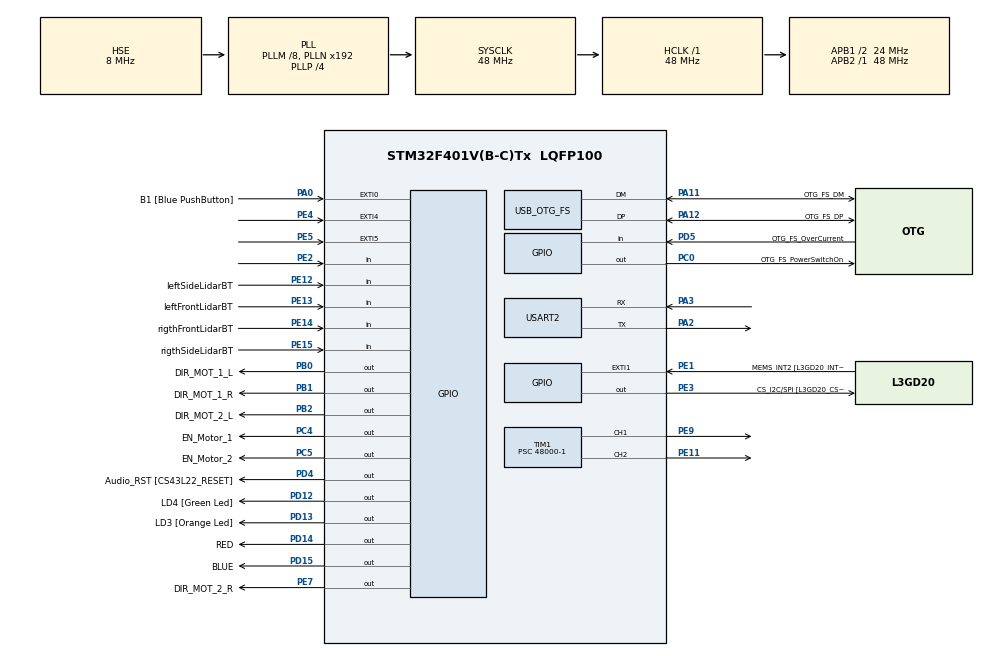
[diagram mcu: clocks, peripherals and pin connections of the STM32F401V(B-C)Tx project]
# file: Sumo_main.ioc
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Mcu.Family=STM32F4
Mcu.Name=STM32F401V(B-C)Tx
Mcu.Package=LQFP100
NVIC.OTG_FS_IRQn=true\:0\:0\:false\:false\:true\:false\:true\:true
NVIC.PriorityGroup=NVIC_PRIORITYGROUP_0
NVIC.TIM2_IRQn=true\:0\:0\:false\:false\:true\:true\:true\:true
NVIC.USART2_IRQn=true\:0\:0\:false\:false\:true\:true\:true\:true
PA0-WKUP.GPIO_Label=B1 [Blue PushButton]
PA0-WKUP.GPIO_ModeDefaultEXTI=GPIO_MODE_EVT_RISING
PA0-WKUP.Signal=GPXTI0
PA10.GPIO_Label=OTG_FS_ID
PA10.Signal=USB_OTG_FS_ID
PA11.GPIO_Label=OTG_FS_DM
PA11.Mode=Device_Only
PA11.Signal=USB_OTG_FS_DM
PA12.GPIO_Label=OTG_FS_DP
PA12.Mode=Device_Only
PA12.Signal=USB_OTG_FS_DP
PA13.GPIO_Label=SWDIO
PA13.Signal=SYS_JTMS-SWDIO
PA14.GPIO_Label=SWCLK
PA14.Signal=SYS_JTCK-SWCLK
PA2.Mode=Asynchronous
PA2.Signal=USART2_TX
PA3.Mode=Asynchronous
PA3.Signal=USART2_RX
PA4.GPIO_Label=I2S3_WS [CS43L22_LRCK]
PA4.GPIO_Mode=GPIO_MODE_AF_PP
PA4.GPIO_PuPd=GPIO_NOPULL
PA4.GPIO_Speed=GPIO_SPEED_FREQ_LOW
PA4.Signal=I2S3_WS
PA5.GPIO_Label=SPI1_SCK [L3GD20_SC/SPC]
PA5.Signal=SPI1_SCK
PA6.GPIO_Label=SPI1_MISO [L3GD20_AS0/SDO]
PA6.Signal=SPI1_MISO
PA7.GPIO_Label=SPI1_MISO [L3GD20_SDA/SDI/SDO]
PA7.Signal=SPI1_MOSI
PA9.GPIO_Label=VBUS_FS
PA9.Signal=USB_OTG_FS_VBUS
PB0.GPIO_Label=DIR_MOT_1_L
PB0.Signal=GPIO_Output
PB1.GPIO_Label=DIR_MOT_1_R
PB1.Signal=GPIO_Output
PB10.GPIO_Label=CLK_IN [MP45DT02_CLK]
PB10.Signal=I2S2_CK
PB12.Signal=I2S2_WS
PB2.GPIO_Label=DIR_MOT_2_L
PB2.Signal=GPIO_Output
PB3.GPIO_Label=SWO
PB3.Signal=SYS_JTDO-SWO
PB6.Signal=I2C1_SCL
PB9.GPIO_Label=Audio_SDA [CS43L22_SDA]
PB9.GPIO_Mode=GPIO_MODE_AF_OD
PB9.GPIO_PuPd=GPIO_NOPULL
PB9.GPIO_Speed=GPIO_SPEED_FREQ_LOW
PB9.Signal=I2C1_SDA
PC0.GPIO_Label=OTG_FS_PowerSwitchOn
PC0.PinState=GPIO_PIN_SET
PC0.Signal=GPIO_Output
PC10.GPIO_Label=I2S3_SCK [CS43L22_SCLK]
PC10.GPIO_Mode=GPIO_MODE_AF_PP
PC10.GPIO_PuPd=GPIO_NOPULL
PC10.GPIO_Speed=GPIO_SPEED_FREQ_LOW
PC10.Signal=I2S3_CK
PC12.GPIO_Label=I2S3_SD [CS43L22_SDIN]
PC12.GPIO_Mode=GPIO_MODE_AF_PP
PC12.GPIO_PuPd=GPIO_NOPULL
PC12.GPIO_Speed=GPIO_SPEED_FREQ_LOW
PC12.Signal=I2S3_SD
PC14-OSC32_IN.GPIO_Label=PC14-OSC32_IN
PC14-OSC32_IN.Signal=RCC_OSC32_IN
PC15-OSC32_OUT.GPIO_Label=PC15-OSC32_OUT
PC15-OSC32_OUT.Signal=RCC_OSC32_OUT
PC3.GPIO_Label=PDM_OUT [MP45DT02_DOUT]
PC3.Signal=I2S2_SD
PC4.GPIO_Label=EN_Motor_1
PC4.Signal=GPIO_Output
PC5.GPIO_Label=EN_Motor_2
PC5.Signal=GPIO_Output
PC7.GPIO_Label=I2S3_MCK [CS43L22_MCLK]
PC7.GPIO_Mode=GPIO_MODE_AF_PP
PC7.GPIO_PuPd=GPIO_NOPULL
PC7.GPIO_Speed=GPIO_SPEED_FREQ_LOW
PC7.Signal=I2S3_MCK
PD12.GPIO_Label=LD4 [Green Led]
PD12.GPIO_PuPd=GPIO_NOPULL
PD12.GPIO_Speed=GPIO_SPEED_FREQ_LOW
PD12.Signal=GPIO_Output
PD13.GPIO_Label=LD3 [Orange Led]
PD13.GPIO_PuPd=GPIO_NOPULL
PD13.GPIO_Speed=GPIO_SPEED_FREQ_LOW
PD13.Signal=GPIO_Output
PD14.GPIO_Label=RED
PD14.GPIO_PuPd=GPIO_NOPULL
PD14.GPIO_Speed=GPIO_SPEED_FREQ_LOW
PD14.Signal=GPIO_Output
PD15.GPIO_Label=BLUE
PD15.GPIO_PuPd=GPIO_NOPULL
PD15.GPIO_Speed=GPIO_SPEED_FREQ_LOW
PD15.Signal=GPIO_Output
PD4.GPIO_Label=Audio_RST [CS43L22_RESET]
PD4.Signal=GPIO_Output
PD5.GPIO_Label=OTG_FS_OverCurrent
PD5.Signal=GPIO_Input
PE1.GPIO_Label=MEMS_INT2 [L3GD20_INT2]
PE1.GPIO_ModeDefaultEXTI=GPIO_MODE_EVT_RISING
PE1.Signal=GPXTI1
PE11.Signal=S_TIM1_CH2
PE12.GPIO_Label=leftSideLidarBT
PE12.Signal=GPIO_Input
PE13.GPIO_Label=leftFrontLidarBT
PE13.Signal=GPIO_Input
PE14.GPIO_Label=rigthFrontLidarBT
PE14.Signal=GPIO_Input
PE15.GPIO_Label=rigthSideLidarBT
PE15.Signal=GPIO_Input
PE2.Signal=GPIO_Input
PE3.GPIO_Label=CS_I2C/SPI [L3GD20_CS_I2C/SPI]
PE3.Signal=GPIO_Output
PE4.GPIO_ModeDefaultEXTI=GPIO_MODE_EVT_RISING
PE4.Signal=GPXTI4
PE5.GPIO_ModeDefaultEXTI=GPIO_MODE_EVT_RISING
PE5.Signal=GPXTI5
PE7.GPIO_Label=DIR_MOT_2_R
PE7.Signal=GPIO_Output
PE9.Signal=S_TIM1_CH1
PH0\ -\ OSC_IN.GPIO_Label=PH0-OSC_IN
PH0\ -\ OSC_IN.Mode=HSE-External-Oscillator
PH0\ -\ OSC_IN.Signal=RCC_OSC_IN
PH1\ -\ OSC_OUT.GPIO_Label=PH1-OSC_OUT
PH1\ -\ OSC_OUT.Mode=HSE-External-Oscillator
PH1\ -\ OSC_OUT.Signal=RCC_OSC_OUT
ProjectManager.HeapSize=0x200
ProjectManager.StackSize=0x400
ProjectManager.TargetToolchain=STM32CubeIDE
RCC.48MHZClocksFreq_Value=48000000
RCC.AHBFreq_Value=48000000
RCC.APB1CLKDivider=RCC_HCLK_DIV2
RCC.APB1Freq_Value=24000000
RCC.APB1TimFreq_Value=48000000
RCC.APB2Freq_Value=48000000
RCC.APB2TimFreq_Value=48000000
RCC.CortexFreq_Value=48000000
RCC.HCLKFreq_Value=48000000
RCC.HSE_VALUE=8000000
RCC.HSI_VALUE=16000000
RCC.LSE_VALUE=32768
RCC.PLLM=8
RCC.PLLP=RCC_PLLP_DIV4
RCC.SYSCLKFreq_VALUE=48000000
RCC.SYSCLKSource=RCC_SYSCLKSOURCE_PLLCLK
RCC.VCOOutputFreq_Value=192000000
SH.S_TIM1_CH1.0=TIM1_CH1,PWM Generation1 CH1
SH.S_TIM1_CH2.0=TIM1_CH2,PWM Generation2 CH2
TIM1.Channel-PWM\ Generation1\ CH1=TIM_CHANNEL_1
TIM1.Channel-PWM\ Generation2\ CH2=TIM_CHANNEL_2
TIM1.Period=100-1
TIM1.Prescaler=48000-1
TIM1.Pulse-PWM\ Generation2\ CH2=0
TIM2.Period=1000000-1
TIM2.Prescaler=48-1
USART2.VirtualMode=VM_ASYNC
USB_DEVICE.CLASS_NAME_FS=CDC
USB_DEVICE.VirtualMode=Cdc
USB_DEVICE.VirtualModeFS=Cdc_FS
USB_OTG_FS.VirtualMode=Device_Only
VP_TIM1_VS_ClockSourceINT.Mode=Internal
VP_TIM2_VS_ClockSourceINT.Mode=Internal
VP_USB_DEVICE_VS_USB_DEVICE_CDC_FS.Mode=CDC_FS
board=STM32F401C-DISCO

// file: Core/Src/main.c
/* USER CODE BEGIN Header */
/**
  ******************************************************************************
  * @file           : main.c
  * @brief          : Main program body
  ******************************************************************************
  * @attention
  *
  * Copyright (c) 2025 STMicroelectronics.
  * All rights reserved.
  *
  * This software is licensed under terms that can be found in the LICENSE file
  * in the root directory of this software component.
  * If no LICENSE file comes with this software, it is provided AS-IS.
  *
  ******************************************************************************
  */
/* USER CODE END Header */
#include "main.h"
#include "usb_device.h"

/* USER CODE BEGIN Includes */
#include <stdbool.h>
#include <stdio.h>
#include <string.h>
#include "usbd_cdc_if.h"

/* USER CODE END Includes */

/* USER CODE BEGIN PD */
#define RIGTH_MOTOR 1
#define LEFT_MOTOR 2

#define FORWARD true
#define BACKWARDS false
/* USER CODE END PD */

TIM_HandleTypeDef htim1;
TIM_HandleTypeDef htim2;

UART_HandleTypeDef huart2;

void SystemClock_Config(void);
static void MX_GPIO_Init(void);
static void MX_TIM1_Init(void);
static void MX_USART2_UART_Init(void);
static void MX_TIM2_Init(void);

/* USER CODE BEGIN 0 */
bool leftMotorForward = true;
bool rigthMotorForward = true;

//the status of lidar detection if true than lidar is detecting some object
bool leftSideLidar = false;
bool leftFrontLidar = false;
bool rigthFrontLidar = false;
bool rigthSideLidar = false;

//to wiadomo chyba co robi
void enable_motor(int motor_id)
{
	switch(motor_id)
	{
	case 1:
		HAL_GPIO_WritePin(EN_Motor_1_GPIO_Port, EN_Motor_1_Pin,SET);
		break;
	case 2:
		HAL_GPIO_WritePin(EN_Motor_2_GPIO_Port, EN_Motor_2_Pin,SET);
		break;
	}

}

void sumoUpdateDirection()
{
	if(LEFT_MOTOR == 1 && RIGTH_MOTOR == 2)
	{
		if(leftMotorForward)
		{
			HAL_GPIO_WritePin(DIR_MOT_1_L_GPIO_Port, DIR_MOT_1_L_Pin,SET);
			HAL_GPIO_WritePin(DIR_MOT_1_R_GPIO_Port, DIR_MOT_1_R_Pin,RESET);
		}
		else{
			HAL_GPIO_WritePin(DIR_MOT_1_L_GPIO_Port, DIR_MOT_1_L_Pin,RESET);
			HAL_GPIO_WritePin(DIR_MOT_1_R_GPIO_Port, DIR_MOT_1_R_Pin,SET);
		}
		if(rigthMotorForward)
		{
			HAL_GPIO_WritePin(DIR_MOT_2_L_GPIO_Port, DIR_MOT_2_L_Pin,SET);
			HAL_GPIO_WritePin(DIR_MOT_2_R_GPIO_Port, DIR_MOT_2_R_Pin,RESET);
		}
		else{
			HAL_GPIO_WritePin(DIR_MOT_2_L_GPIO_Port, DIR_MOT_2_L_Pin,RESET);
			HAL_GPIO_WritePin(DIR_MOT_2_R_GPIO_Port, DIR_MOT_2_R_Pin,SET);
		}
	}

	else if(LEFT_MOTOR == 2 && RIGTH_MOTOR == 1)
	{
		if(leftMotorForward)
		{
			HAL_GPIO_WritePin(DIR_MOT_2_L_GPIO_Port, DIR_MOT_2_L_Pin,SET);
			HAL_GPIO_WritePin(DIR_MOT_2_R_GPIO_Port, DIR_MOT_2_R_Pin,RESET);
		}
		else{
			HAL_GPIO_WritePin(DIR_MOT_2_L_GPIO_Port, DIR_MOT_2_L_Pin,RESET);
			HAL_GPIO_WritePin(DIR_MOT_2_R_GPIO_Port, DIR_MOT_2_R_Pin,SET);
		}
		if(rigthMotorForward)
		{
			HAL_GPIO_WritePin(DIR_MOT_1_L_GPIO_Port, DIR_MOT_1_L_Pin,SET);
			HAL_GPIO_WritePin(DIR_MOT_1_R_GPIO_Port, DIR_MOT_1_R_Pin,RESET);
		}
		else{
			HAL_GPIO_WritePin(DIR_MOT_1_L_GPIO_Port, DIR_MOT_1_L_Pin,RESET);
			HAL_GPIO_WritePin(DIR_MOT_1_R_GPIO_Port, DIR_MOT_1_R_Pin,SET);
		}
	}

}

void change_direction(int motor_id)
{
	if(LEFT_MOTOR == 1 && RIGTH_MOTOR == 2)
		switch (motor_id) {
			case 1:
				leftMotorForward = !leftMotorForward;
				break;
			case 2:
				rigthMotorForward = !rigthMotorForward;
			default:
				break;
		}
	else if(LEFT_MOTOR == 2 && RIGTH_MOTOR == 1){
		switch (motor_id) {
			case 1:
				rigthMotorForward = !rigthMotorForward;
				break;
			case 2:
				leftMotorForward = !leftMotorForward;
			default:
				break;
		}
	}
	sumoUpdateDirection();
}

void motorDirection(bool direction, int motor_id)
{
	switch (motor_id) {
		case 1:
			if(LEFT_MOTOR == 1 && RIGTH_MOTOR == 2){
				leftMotorForward = direction;
			}
			else if(LEFT_MOTOR == 2 && RIGTH_MOTOR == 1){
				rigthMotorForward = direction;
			}
			break;
		case 2:
			if(LEFT_MOTOR == 1 && RIGTH_MOTOR == 2){
				rigthMotorForward = direction;
			}
			else if(LEFT_MOTOR == 2 && RIGTH_MOTOR == 1){
				leftMotorForward = direction;
			}
			break;
		default:
			break;
	}
	sumoUpdateDirection();
}

//funkcja ustala wartosc predkosci
void move_at_speed(int speed,int motor_id)
{
	if(speed > 100)speed = 100;
	switch(motor_id)
		{
		case 1:
			__HAL_TIM_SET_COMPARE(&htim1, TIM_CHANNEL_1, speed);
			break;
		case 2:
			__HAL_TIM_SET_COMPARE(&htim1, TIM_CHANNEL_2, speed);
			break;
		}
}

void moveForward()
{
	//
}

//pure function for tests bcs I dont have access to lidar right now
void readLidarButtons()
{
	if(HAL_GPIO_ReadPin(leftSideLidarBT_GPIO_Port, leftSideLidarBT_Pin) == 1)leftSideLidar = true;
	else leftSideLidar = false;
	if(HAL_GPIO_ReadPin(leftFrontLidarBT_GPIO_Port, leftFrontLidarBT_Pin) == 1)leftFrontLidar = true;
	else leftFrontLidar = false;
	if(HAL_GPIO_ReadPin(rigthFrontLidarBT_GPIO_Port, rigthFrontLidarBT_Pin) == 1)rigthFrontLidar = true;
	else rigthFrontLidar = false;
	if(HAL_GPIO_ReadPin(rigthSideLidarBT_GPIO_Port, rigthSideLidarBT_Pin) == 1)rigthSideLidar = true;
	else rigthSideLidar = false;

}

//currently its using buttons to simulate lidar behaviour
void readLidarData()
{
	readLidarButtons();
}

/* USER CODE END 0 */

int main(void)
{

  /* MCU Configuration--------------------------------------------------------*/

  /* Reset of all peripherals, Initializes the Flash interface and the Systick. */
  HAL_Init();

  /* Configure the system clock */
  SystemClock_Config();

  /* Initialize all configured peripherals */
  MX_GPIO_Init();
  MX_TIM1_Init();
  MX_USART2_UART_Init();
  MX_TIM2_Init();
  MX_USB_DEVICE_Init();
  /* USER CODE BEGIN 2 */

 //TIM2 is blinking blue diode every one second. Its just to check if stm is working properly
 HAL_TIM_Base_Start_IT(&htim2);

 //TIM1 is used for PWM that controls motor speed;
 HAL_TIM_PWM_Start(&htim1, TIM_CHANNEL_1);
 HAL_TIM_PWM_Start(&htim1, TIM_CHANNEL_2);
  /* USER CODE END 2 */

  /* Infinite loop */
  /* USER CODE BEGIN WHILE */

  uint8_t uartMessage[] = "I am world\n\r";
  uint8_t uartClrScr[] = { 27, 91, 50, 74, 27, 91, 72, 0 };
  HAL_Delay(50);

  int speed = 0;

  //change_direction(direction, LEFT_MOTOR);
  sumoUpdateDirection();

  move_at_speed(100, RIGTH_MOTOR);

  move_at_speed(100, LEFT_MOTOR);

  motorDirection(FORWARD, RIGTH_MOTOR);
  motorDirection(FORWARD, LEFT_MOTOR);

  while (1)
  {
	  motorDirection(FORWARD, LEFT_MOTOR);
	  HAL_Delay(1000);
	  motorDirection(BACKWARDS, RIGTH_MOTOR);
	  HAL_Delay(1000);
	  motorDirection(BACKWARDS, LEFT_MOTOR);
	  HAL_Delay(1000);
	  motorDirection(FORWARD, RIGTH_MOTOR);
	  HAL_Delay(2000);

	  change_direction(LEFT_MOTOR);

	  HAL_Delay(1000);

	  change_direction(RIGTH_MOTOR);

	  HAL_Delay(2000);
	  change_direction(LEFT_MOTOR);
	  change_direction(RIGTH_MOTOR);
	  HAL_Delay(1000);

    /* USER CODE END WHILE */

    /* USER CODE BEGIN 3 */
	  /*
	  if (CDC_Transmit_FS(uartMessage, sizeof(uartMessage)) == USBD_OK)
	  {
		  HAL_GPIO_TogglePin(RED_GPIO_Port, RED_Pin);
	  }
	  HAL_Delay(1000);
	  if (CDC_Transmit_FS(uartMessage, sizeof(uartMessage)) == USBD_OK)
	  {
		  HAL_GPIO_TogglePin(RED_GPIO_Port, RED_Pin);
	  }
	  HAL_Delay(1000);
	  if (CDC_Transmit_FS(uartClrScr, sizeof(uartClrScr)) == USBD_OK)
	  {
		  //HAL_GPIO_TogglePin(RED_GPIO_Port, RED_Pin);
	  }
	 //HAL_GPIO_TogglePin(RED_GPIO_Port, RED_Pin);
	  */
	  /*
	  HAL_Delay(500);
	  readLidarData();
	  if(leftSideLidar)HAL_GPIO_WritePin(RED_GPIO_Port, RED_Pin, 1);
	  else HAL_GPIO_WritePin(RED_GPIO_Port, RED_Pin, 0);
	  */

	  /*
	  CDC_Transmit_FS(uartClrScr, sizeof(uartClrScr));
	  HAL_Delay(10);
	  if(leftSideLidar)CDC_Transmit_FS("1\n\r", 3);
	  else CDC_Transmit_FS("0\n\r", 3);
	  HAL_Delay(10);
	  if(leftFrontLidar)CDC_Transmit_FS("1\n\r", 3);
	  else CDC_Transmit_FS("0\n\r", 3);
	  HAL_Delay(10);
	  if(rigthFrontLidar)CDC_Transmit_FS("1\n\r", 3);
	  else CDC_Transmit_FS("0\n\r", 3);
	  HAL_Delay(10);
	  if(rigthSideLidar)CDC_Transmit_FS("1\n\r", 3);
	  else CDC_Transmit_FS("0\n\r", 3);
	  */

  }
  /* USER CODE END 3 */
}

void SystemClock_Config(void)
{
  RCC_OscInitTypeDef RCC_OscInitStruct = {0};
  RCC_ClkInitTypeDef RCC_ClkInitStruct = {0};

  /** Configure the main internal regulator output voltage
  */
  __HAL_RCC_PWR_CLK_ENABLE();
  __HAL_PWR_VOLTAGESCALING_CONFIG(PWR_REGULATOR_VOLTAGE_SCALE2);

  /** Initializes the RCC Oscillators according to the specified parameters
  * in the RCC_OscInitTypeDef structure.
  */
  RCC_OscInitStruct.OscillatorType = RCC_OSCILLATORTYPE_HSE;
  RCC_OscInitStruct.HSEState = RCC_HSE_ON;
  RCC_OscInitStruct.PLL.PLLState = RCC_PLL_ON;
  RCC_OscInitStruct.PLL.PLLSource = RCC_PLLSOURCE_HSE;
  RCC_OscInitStruct.PLL.PLLM = 8;
  RCC_OscInitStruct.PLL.PLLN = 192;
  RCC_OscInitStruct.PLL.PLLP = RCC_PLLP_DIV4;
  RCC_OscInitStruct.PLL.PLLQ = 4;
  if (HAL_RCC_OscConfig(&RCC_OscInitStruct) != HAL_OK)
  {
    Error_Handler();
  }

  /** Initializes the CPU, AHB and APB buses clocks
  */
  RCC_ClkInitStruct.ClockType = RCC_CLOCKTYPE_HCLK|RCC_CLOCKTYPE_SYSCLK
                              |RCC_CLOCKTYPE_PCLK1|RCC_CLOCKTYPE_PCLK2;
  RCC_ClkInitStruct.SYSCLKSource = RCC_SYSCLKSOURCE_PLLCLK;
  RCC_ClkInitStruct.AHBCLKDivider = RCC_SYSCLK_DIV1;
  RCC_ClkInitStruct.APB1CLKDivider = RCC_HCLK_DIV2;
  RCC_ClkInitStruct.APB2CLKDivider = RCC_HCLK_DIV1;

  if (HAL_RCC_ClockConfig(&RCC_ClkInitStruct, FLASH_LATENCY_1) != HAL_OK)
  {
    Error_Handler();
  }
}

static void MX_TIM1_Init(void)
{

  TIM_ClockConfigTypeDef sClockSourceConfig = {0};
  TIM_MasterConfigTypeDef sMasterConfig = {0};
  TIM_OC_InitTypeDef sConfigOC = {0};
  TIM_BreakDeadTimeConfigTypeDef sBreakDeadTimeConfig = {0};

  htim1.Instance = TIM1;
  htim1.Init.Prescaler = 48000-1;
  htim1.Init.CounterMode = TIM_COUNTERMODE_UP;
  htim1.Init.Period = 100-1;
  htim1.Init.ClockDivision = TIM_CLOCKDIVISION_DIV1;
  htim1.Init.RepetitionCounter = 0;
  htim1.Init.AutoReloadPreload = TIM_AUTORELOAD_PRELOAD_DISABLE;
  if (HAL_TIM_Base_Init(&htim1) != HAL_OK)
  {
    Error_Handler();
  }
  sClockSourceConfig.ClockSource = TIM_CLOCKSOURCE_INTERNAL;
  if (HAL_TIM_ConfigClockSource(&htim1, &sClockSourceConfig) != HAL_OK)
  {
    Error_Handler();
  }
  if (HAL_TIM_PWM_Init(&htim1) != HAL_OK)
  {
    Error_Handler();
  }
  sMasterConfig.MasterOutputTrigger = TIM_TRGO_RESET;
  sMasterConfig.MasterSlaveMode = TIM_MASTERSLAVEMODE_DISABLE;
  if (HAL_TIMEx_MasterConfigSynchronization(&htim1, &sMasterConfig) != HAL_OK)
  {
    Error_Handler();
  }
  sConfigOC.OCMode = TIM_OCMODE_PWM1;
  sConfigOC.Pulse = 0;
  sConfigOC.OCPolarity = TIM_OCPOLARITY_HIGH;
  sConfigOC.OCNPolarity = TIM_OCNPOLARITY_HIGH;
  sConfigOC.OCFastMode = TIM_OCFAST_DISABLE;
  sConfigOC.OCIdleState = TIM_OCIDLESTATE_RESET;
  sConfigOC.OCNIdleState = TIM_OCNIDLESTATE_RESET;
  if (HAL_TIM_PWM_ConfigChannel(&htim1, &sConfigOC, TIM_CHANNEL_1) != HAL_OK)
  {
    Error_Handler();
  }
  if (HAL_TIM_PWM_ConfigChannel(&htim1, &sConfigOC, TIM_CHANNEL_2) != HAL_OK)
  {
    Error_Handler();
  }
  sBreakDeadTimeConfig.OffStateRunMode = TIM_OSSR_DISABLE;
  sBreakDeadTimeConfig.OffStateIDLEMode = TIM_OSSI_DISABLE;
  sBreakDeadTimeConfig.LockLevel = TIM_LOCKLEVEL_OFF;
  sBreakDeadTimeConfig.DeadTime = 0;
  sBreakDeadTimeConfig.BreakState = TIM_BREAK_DISABLE;
  sBreakDeadTimeConfig.BreakPolarity = TIM_BREAKPOLARITY_HIGH;
  sBreakDeadTimeConfig.AutomaticOutput = TIM_AUTOMATICOUTPUT_DISABLE;
  if (HAL_TIMEx_ConfigBreakDeadTime(&htim1, &sBreakDeadTimeConfig) != HAL_OK)
  {
    Error_Handler();
  }
  HAL_TIM_MspPostInit(&htim1);

}

static void MX_TIM2_Init(void)
{

  TIM_ClockConfigTypeDef sClockSourceConfig = {0};
  TIM_MasterConfigTypeDef sMasterConfig = {0};

  htim2.Instance = TIM2;
  htim2.Init.Prescaler = 48-1;
  htim2.Init.CounterMode = TIM_COUNTERMODE_UP;
  htim2.Init.Period = 1000000-1;
  htim2.Init.ClockDivision = TIM_CLOCKDIVISION_DIV1;
  htim2.Init.AutoReloadPreload = TIM_AUTORELOAD_PRELOAD_DISABLE;
  if (HAL_TIM_Base_Init(&htim2) != HAL_OK)
  {
    Error_Handler();
  }
  sClockSourceConfig.ClockSource = TIM_CLOCKSOURCE_INTERNAL;
  if (HAL_TIM_ConfigClockSource(&htim2, &sClockSourceConfig) != HAL_OK)
  {
    Error_Handler();
  }
  sMasterConfig.MasterOutputTrigger = TIM_TRGO_RESET;
  sMasterConfig.MasterSlaveMode = TIM_MASTERSLAVEMODE_DISABLE;
  if (HAL_TIMEx_MasterConfigSynchronization(&htim2, &sMasterConfig) != HAL_OK)
  {
    Error_Handler();
  }

}

static void MX_USART2_UART_Init(void)
{

  huart2.Instance = USART2;
  huart2.Init.BaudRate = 115200;
  huart2.Init.WordLength = UART_WORDLENGTH_8B;
  huart2.Init.StopBits = UART_STOPBITS_1;
  huart2.Init.Parity = UART_PARITY_NONE;
  huart2.Init.Mode = UART_MODE_TX_RX;
  huart2.Init.HwFlowCtl = UART_HWCONTROL_NONE;
  huart2.Init.OverSampling = UART_OVERSAMPLING_16;
  if (HAL_UART_Init(&huart2) != HAL_OK)
  {
    Error_Handler();
  }

}

static void MX_GPIO_Init(void)
{
  GPIO_InitTypeDef GPIO_InitStruct = {0};

  /* GPIO Ports Clock Enable */
  __HAL_RCC_GPIOE_CLK_ENABLE();
  __HAL_RCC_GPIOC_CLK_ENABLE();
  __HAL_RCC_GPIOH_CLK_ENABLE();
  __HAL_RCC_GPIOA_CLK_ENABLE();
  __HAL_RCC_GPIOB_CLK_ENABLE();
  __HAL_RCC_GPIOD_CLK_ENABLE();

  /*Configure GPIO pin Output Level */
  HAL_GPIO_WritePin(GPIOE, CS_I2C_SPI_Pin|DIR_MOT_2_R_Pin, GPIO_PIN_RESET);

  /*Configure GPIO pin Output Level */
  HAL_GPIO_WritePin(OTG_FS_PowerSwitchOn_GPIO_Port, OTG_FS_PowerSwitchOn_Pin, GPIO_PIN_SET);

  /*Configure GPIO pin Output Level */
  HAL_GPIO_WritePin(GPIOC, EN_Motor_1_Pin|EN_Motor_2_Pin, GPIO_PIN_RESET);

  /*Configure GPIO pin Output Level */
  HAL_GPIO_WritePin(GPIOB, DIR_MOT_1_L_Pin|DIR_MOT_1_R_Pin|DIR_MOT_2_L_Pin, GPIO_PIN_RESET);

  /*Configure GPIO pin Output Level */
  HAL_GPIO_WritePin(GPIOD, LD4_Pin|LD3_Pin|RED_Pin|BLUE_Pin
                          |Audio_RST_Pin, GPIO_PIN_RESET);

  /*Configure GPIO pins : PE2 leftSideLidarBT_Pin leftFrontLidarBT_Pin rigthFrontLidarBT_Pin
                           rigthSideLidarBT_Pin */
  GPIO_InitStruct.Pin = GPIO_PIN_2|leftSideLidarBT_Pin|leftFrontLidarBT_Pin|rigthFrontLidarBT_Pin
                          |rigthSideLidarBT_Pin;
  GPIO_InitStruct.Mode = GPIO_MODE_INPUT;
  GPIO_InitStruct.Pull = GPIO_NOPULL;
  HAL_GPIO_Init(GPIOE, &GPIO_InitStruct);

  /*Configure GPIO pins : CS_I2C_SPI_Pin DIR_MOT_2_R_Pin */
  GPIO_InitStruct.Pin = CS_I2C_SPI_Pin|DIR_MOT_2_R_Pin;
  GPIO_InitStruct.Mode = GPIO_MODE_OUTPUT_PP;
  GPIO_InitStruct.Pull = GPIO_NOPULL;
  GPIO_InitStruct.Speed = GPIO_SPEED_FREQ_LOW;
  HAL_GPIO_Init(GPIOE, &GPIO_InitStruct);

  /*Configure GPIO pins : PE4 PE5 MEMS_INT2_Pin */
  GPIO_InitStruct.Pin = GPIO_PIN_4|GPIO_PIN_5|MEMS_INT2_Pin;
  GPIO_InitStruct.Mode = GPIO_MODE_EVT_RISING;
  GPIO_InitStruct.Pull = GPIO_NOPULL;
  HAL_GPIO_Init(GPIOE, &GPIO_InitStruct);

  /*Configure GPIO pins : OTG_FS_PowerSwitchOn_Pin EN_Motor_1_Pin EN_Motor_2_Pin */
  GPIO_InitStruct.Pin = OTG_FS_PowerSwitchOn_Pin|EN_Motor_1_Pin|EN_Motor_2_Pin;
  GPIO_InitStruct.Mode = GPIO_MODE_OUTPUT_PP;
  GPIO_InitStruct.Pull = GPIO_NOPULL;
  GPIO_InitStruct.Speed = GPIO_SPEED_FREQ_LOW;
  HAL_GPIO_Init(GPIOC, &GPIO_InitStruct);

  /*Configure GPIO pin : PDM_OUT_Pin */
  GPIO_InitStruct.Pin = PDM_OUT_Pin;
  GPIO_InitStruct.Mode = GPIO_MODE_AF_PP;
  GPIO_InitStruct.Pull = GPIO_NOPULL;
  GPIO_InitStruct.Speed = GPIO_SPEED_FREQ_LOW;
  GPIO_InitStruct.Alternate = GPIO_AF5_SPI2;
  HAL_GPIO_Init(PDM_OUT_GPIO_Port, &GPIO_InitStruct);

  /*Configure GPIO pin : B1_Pin */
  GPIO_InitStruct.Pin = B1_Pin;
  GPIO_InitStruct.Mode = GPIO_MODE_EVT_RISING;
  GPIO_InitStruct.Pull = GPIO_NOPULL;
  HAL_GPIO_Init(B1_GPIO_Port, &GPIO_InitStruct);

  /*Configure GPIO pin : I2S3_WS_Pin */
  GPIO_InitStruct.Pin = I2S3_WS_Pin;
  GPIO_InitStruct.Mode = GPIO_MODE_AF_PP;
  GPIO_InitStruct.Pull = GPIO_NOPULL;
  GPIO_InitStruct.Speed = GPIO_SPEED_FREQ_LOW;
  GPIO_InitStruct.Alternate = GPIO_AF6_SPI3;
  HAL_GPIO_Init(I2S3_WS_GPIO_Port, &GPIO_InitStruct);

  /*Configure GPIO pins : SPI1_SCK_Pin SPI1_MISO_Pin SPI1_MISOA7_Pin */
  GPIO_InitStruct.Pin = SPI1_SCK_Pin|SPI1_MISO_Pin|SPI1_MISOA7_Pin;
  GPIO_InitStruct.Mode = GPIO_MODE_AF_PP;
  GPIO_InitStruct.Pull = GPIO_NOPULL;
  GPIO_InitStruct.Speed = GPIO_SPEED_FREQ_VERY_HIGH;
  GPIO_InitStruct.Alternate = GPIO_AF5_SPI1;
  HAL_GPIO_Init(GPIOA, &GPIO_InitStruct);

  /*Configure GPIO pins : DIR_MOT_1_L_Pin DIR_MOT_1_R_Pin DIR_MOT_2_L_Pin */
  GPIO_InitStruct.Pin = DIR_MOT_1_L_Pin|DIR_MOT_1_R_Pin|DIR_MOT_2_L_Pin;
  GPIO_InitStruct.Mode = GPIO_MODE_OUTPUT_PP;
  GPIO_InitStruct.Pull = GPIO_NOPULL;
  GPIO_InitStruct.Speed = GPIO_SPEED_FREQ_LOW;
  HAL_GPIO_Init(GPIOB, &GPIO_InitStruct);

  /*Configure GPIO pins : CLK_IN_Pin PB12 */
  GPIO_InitStruct.Pin = CLK_IN_Pin|GPIO_PIN_12;
  GPIO_InitStruct.Mode = GPIO_MODE_AF_PP;
  GPIO_InitStruct.Pull = GPIO_NOPULL;
  GPIO_InitStruct.Speed = GPIO_SPEED_FREQ_LOW;
  GPIO_InitStruct.Alternate = GPIO_AF5_SPI2;
  HAL_GPIO_Init(GPIOB, &GPIO_InitStruct);

  /*Configure GPIO pins : LD4_Pin LD3_Pin RED_Pin BLUE_Pin
                           Audio_RST_Pin */
  GPIO_InitStruct.Pin = LD4_Pin|LD3_Pin|RED_Pin|BLUE_Pin
                          |Audio_RST_Pin;
  GPIO_InitStruct.Mode = GPIO_MODE_OUTPUT_PP;
  GPIO_InitStruct.Pull = GPIO_NOPULL;
  GPIO_InitStruct.Speed = GPIO_SPEED_FREQ_LOW;
  HAL_GPIO_Init(GPIOD, &GPIO_InitStruct);

  /*Configure GPIO pins : I2S3_MCK_Pin I2S3_SCK_Pin I2S3_SD_Pin */
  GPIO_InitStruct.Pin = I2S3_MCK_Pin|I2S3_SCK_Pin|I2S3_SD_Pin;
  GPIO_InitStruct.Mode = GPIO_MODE_AF_PP;
  GPIO_InitStruct.Pull = GPIO_NOPULL;
  GPIO_InitStruct.Speed = GPIO_SPEED_FREQ_LOW;
  GPIO_InitStruct.Alternate = GPIO_AF6_SPI3;
  HAL_GPIO_Init(GPIOC, &GPIO_InitStruct);

  /*Configure GPIO pin : OTG_FS_OverCurrent_Pin */
  GPIO_InitStruct.Pin = OTG_FS_OverCurrent_Pin;
  GPIO_InitStruct.Mode = GPIO_MODE_INPUT;
  GPIO_InitStruct.Pull = GPIO_NOPULL;
  HAL_GPIO_Init(OTG_FS_OverCurrent_GPIO_Port, &GPIO_InitStruct);

  /*Configure GPIO pin : PB6 */
  GPIO_InitStruct.Pin = GPIO_PIN_6;
  GPIO_InitStruct.Mode = GPIO_MODE_AF_OD;
  GPIO_InitStruct.Pull = GPIO_NOPULL;
  GPIO_InitStruct.Speed = GPIO_SPEED_FREQ_VERY_HIGH;
  GPIO_InitStruct.Alternate = GPIO_AF4_I2C1;
  HAL_GPIO_Init(GPIOB, &GPIO_InitStruct);

  /*Configure GPIO pin : Audio_SDA_Pin */
  GPIO_InitStruct.Pin = Audio_SDA_Pin;
  GPIO_InitStruct.Mode = GPIO_MODE_AF_OD;
  GPIO_InitStruct.Pull = GPIO_NOPULL;
  GPIO_InitStruct.Speed = GPIO_SPEED_FREQ_LOW;
  GPIO_InitStruct.Alternate = GPIO_AF4_I2C1;
  HAL_GPIO_Init(Audio_SDA_GPIO_Port, &GPIO_InitStruct);

}

void Error_Handler(void)
{
  __disable_irq();
  while (1)
  {
  }
}
